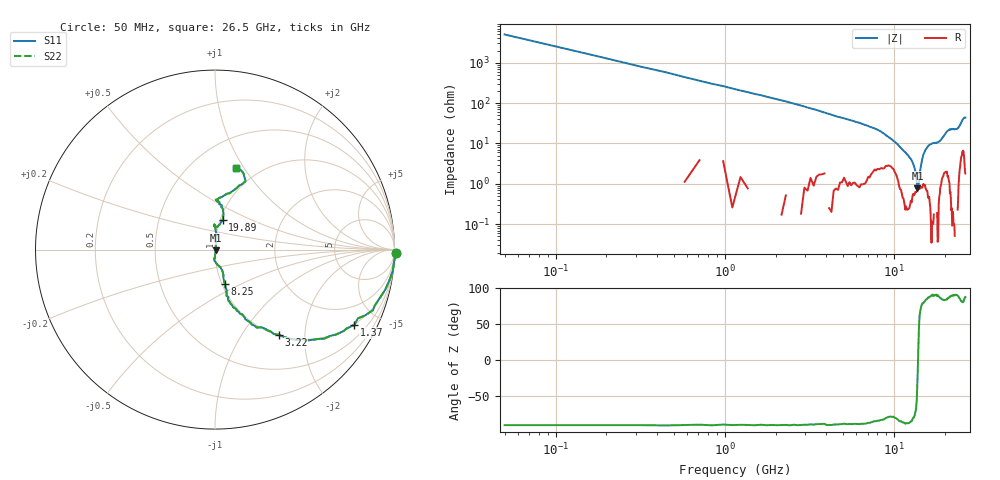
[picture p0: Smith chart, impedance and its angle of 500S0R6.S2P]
!  American Technical Ceramics  Date:  8/11/98
!  One Norden Lane
!  Huntington Station,  NY.  11746-2102
!  Tel:  (516) 547-5700  Fax:  (516) 547-5748
!  Part Number  500s0r6
!  Description: Broadband Microwave capacitor
!  Application:
# GHZ S DB R 50
! Freq  |S11|  S11 Ph  |S21|  S21 Ph  |S12|  S12 Ph  |S22|  S22 Ph
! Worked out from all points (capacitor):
!   201 points, 50 MHz to 26.5 GHz, reference 50 ohm
!   read as one part in series: C = 622 fF near 180 MHz
!   lowest |Z| = 772 mohm at 13.8 GHz (marker M1)
!   series resonance near 13.9 GHz, so ESL is about 210 pH
!   S11 on the Smith chart (normalised r, x): 50 MHz: -31, -82; 1.37 GHz: 0.98, -3.71; 3.22 GHz: 1.01, -1.48; 8.25 GHz: 1.03, -0.42; 19.89 GHz: 1.03, +0.35; 26.5 GHz: 0.79, +0.92
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0.05  0.07 -1.2  -33.89 88.8  -33.89 88.8  0.07 -1.2
0.18  0.00 -4.1  -23.05 86.0  -23.05 86.0  0.00 -4.1
0.45  -0.11 -9.8  -15.34 80.6  -15.34 80.6  -0.11 -9.8
1.37  -1.09 -28.4  -6.51 61.3  -6.51 61.3  -1.09 -28.4
3.22  -4.55 -53.2  -1.99 35.7  -1.99 35.7  -4.55 -53.2
4.55  -7.20 -65.3  -1.02 24.1  -1.02 24.1  -7.20 -65.3
8.25  -13.94 -74.3  -0.43 11.0  -0.43 11.0  -13.94 -74.3
8.91  -16.17 -72.3  -0.36 9.1  -0.36 9.1  -16.17 -72.3
12.75  -26.85 -92.7  -0.10 1.7  -0.10 1.7  -26.85 -92.7
13.28  -30.51 -89.0  -0.10 1.0  -0.10 1.0  -30.51 -89.0
13.67  -37.85 -76.8  -0.09 0.3  -0.09 0.3  -37.85 -76.8
13.8  -44.65 -55.7  -0.09 0.1  -0.09 0.1  -44.65 -55.7
13.94  -45.60 22.8  -0.09 -0.1  -0.09 -0.1  -45.60 22.8
14.07  -38.99 60.9  -0.09 -0.2  -0.09 -0.2  -38.99 60.9
14.33  -31.25 78.3  -0.10 -0.8  -0.10 -0.8  -31.25 78.3
14.99  -22.80 83.1  -0.14 -1.9  -0.14 -1.9  -22.80 83.1
16.18  -17.89 89.2  -0.20 -3.0  -0.20 -3.0  -17.89 89.2
17.77  -17.70 91.8  -0.18 -4.2  -0.18 -4.2  -17.70 91.8
19.89  -15.29 75.5  -0.27 -7.9  -0.27 -7.9  -15.29 75.5
22.14  -11.31 86.2  -0.63 -9.7  -0.63 -9.7  -11.31 86.2
23.86  -11.14 87.6  -0.76 -9.9  -0.76 -9.9  -11.14 87.6
26.5  -6.59 75.5  -1.61 -16.0  -1.61 -16.0  -6.59 75.5
